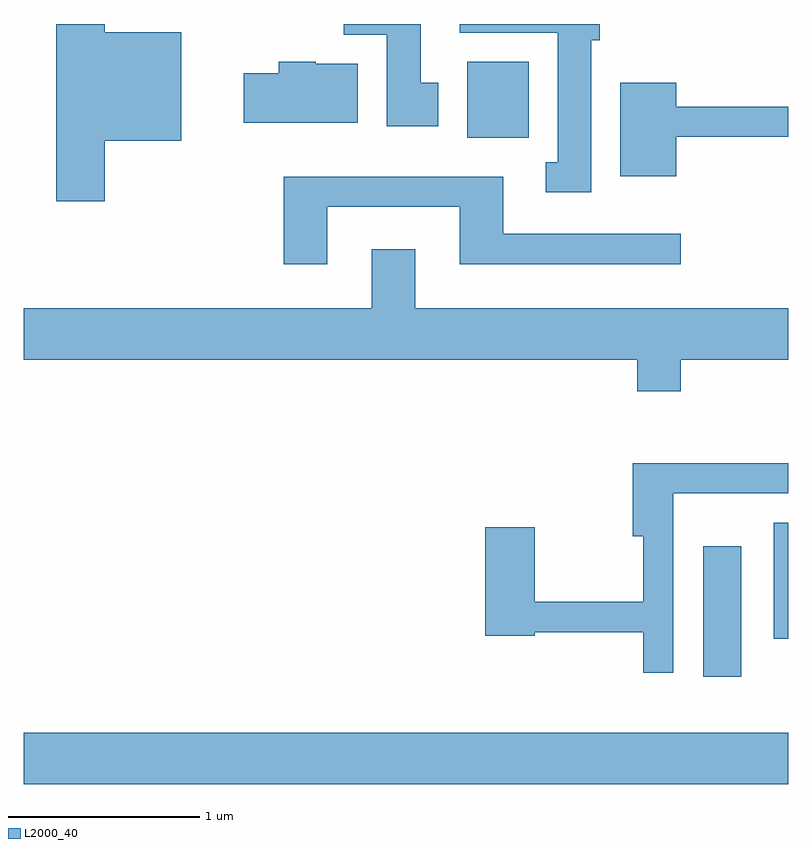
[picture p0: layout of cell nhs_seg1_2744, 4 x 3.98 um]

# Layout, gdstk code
import gdstk
lib = gdstk.Library(unit=1e-6, precision=1e-09)
def R(c, l, rs):  # rectangles x0, y0, x1, y1
    for r in rs: c.add(gdstk.rectangle(r[:2], r[2:], *l))
def P(c, l, *ps):  # polygons
    for p in ps: c.add(gdstk.Polygon(p, *l))
L2000_40 = (2000, 40)

nhs_seg1_2744 = lib.new_cell('nhs_seg1_2744')
R(nhs_seg1_2744, L2000_40, [(267.611,961.736,271.611,962.004), (271.166,962.296,271.364,962.979), (271.536,962.496,271.611,963.104), (269.931,965.116,270.254,965.514)])
P(nhs_seg1_2744, L2000_40, [(268.034,965.101),(268.434,965.101),(268.434,965.669),(268.034,965.669),(268.034,965.712),(267.781,965.712),(267.781,964.786),(268.034,964.786)],
  [(270.579,965.626),(270.624,965.626),(270.624,965.712),(269.891,965.712),(269.891,965.666),(270.406,965.666),(270.406,964.989),(270.343,964.989),(270.343,964.831),(270.579,964.831)],
  [(269.779,965.404),(269.689,965.404),(269.689,965.712),(269.286,965.712),(269.286,965.656),(269.511,965.656),(269.511,965.176),(269.779,965.176)],
  [(269.359,965.504),(269.14,965.504),(269.14,965.514),(268.946,965.514),(268.946,965.454),(268.761,965.454),(268.761,965.196),(269.359,965.196)],
  [(271.024,965.121),(271.611,965.121),(271.611,965.279),(271.024,965.279),(271.024,965.404),(270.731,965.404),(270.731,964.916),(271.024,964.916)],
  [(269.199,964.756),(269.891,964.756),(269.891,964.456),(271.048,964.456),(271.048,964.614),(270.119,964.614),(270.119,964.914),(268.971,964.914),(268.971,964.456),(269.199,964.456)],
  [(271.049,963.956),(271.611,963.956),(271.611,964.224),(269.659,964.224),(269.659,964.534),(269.431,964.534),(269.431,964.224),(267.611,964.224),(267.611,963.956),(270.821,963.956),(270.821,963.791),(271.049,963.791)],
  [(271.009,963.256),(271.611,963.256),(271.611,963.414),(270.796,963.414),(270.796,963.031),(270.851,963.031),(270.851,962.689),(270.284,962.689),(270.284,963.079),(270.026,963.079),(270.026,962.511),(270.284,962.511),(270.284,962.531),(270.851,962.531),(270.851,962.318),(271.009,962.318)])

lib.write_gds('nhs_seg1_2744.gds')
